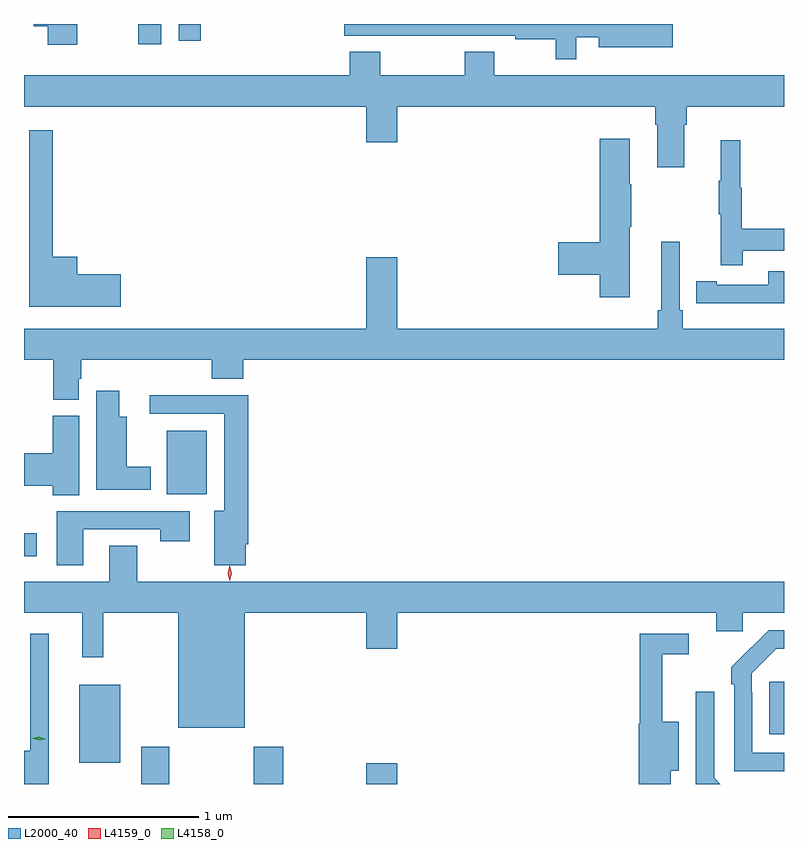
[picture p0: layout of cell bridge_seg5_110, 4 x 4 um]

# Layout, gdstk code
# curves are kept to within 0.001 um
import gdstk
lib = gdstk.Library(unit=1e-6, precision=1e-09)
def R(c, l, rs):  # rectangles x0, y0, x1, y1
    for r in rs: c.add(gdstk.rectangle(r[:2], r[2:], *l))
def P(c, l, *ps):  # polygons
    for p in ps: c.add(gdstk.Polygon(p, *l))
L2000_40 = (2000, 40)
L4158_0 = (4158, 0)
L4159_0 = (4159, 0)

bridge_seg5_110 = lib.new_cell('bridge_seg5_110')
R(bridge_seg5_110, L2000_40, [(403.583,903.811,403.731,904.006), (404.176,903.811,404.331,904.006), (404.768,903.811,404.932,903.919), (403.259,903.923,403.474,904.333), (406.889,904.073,406.967,904.348), (402.967,905.009,403.033,905.131), (403.718,905.336,403.93,905.671), (403.568,907.704,403.69,907.811), (403.782,907.722,403.898,907.811)])
P(bridge_seg5_110, L2000_40, [(405.873,907.742),(405.992,907.742),(405.992,907.688),(406.381,907.688),(406.381,907.81),(406.12,907.81),(406.12,907.811),(404.653,907.811),(404.653,907.749),(404.903,907.749),(404.903,907.748),(405.135,907.748),(405.135,907.749),(405.552,907.749),(405.552,907.73),(405.765,907.73),(405.765,907.625),(405.873,907.625)],
  [(403.246,907.811),(403.019,907.811),(403.019,907.799),(403.091,907.799),(403.091,907.701),(403.246,907.701)],
  [(406.441,907.28),(406.454,907.28),(406.454,907.376),(406.967,907.376),(406.967,907.54),(405.441,907.54),(405.441,907.664),(405.286,907.664),(405.286,907.54),(404.841,907.54),(404.841,907.664),(404.681,907.664),(404.681,907.54),(402.967,907.54),(402.967,907.376),(404.768,907.376),(404.768,907.188),(404.932,907.188),(404.932,907.376),(406.289,907.376),(406.289,907.28),(406.301,907.28),(406.301,907.056),(406.441,907.056)],
  [(403.477,906.494),(403.246,906.494),(403.246,906.586),(403.117,906.586),(403.117,907.252),(402.995,907.252),(402.995,906.323),(403.477,906.323)],
  [(406.156,906.745),(406.164,906.745),(406.164,906.968),(406.156,906.968),(406.156,907.207),(405.998,907.207),(405.998,906.662),(405.78,906.662),(405.78,906.491),(405.998,906.491),(405.998,906.372),(406.156,906.372)],
  [(406.751,906.618),(406.967,906.618),(406.967,906.734),(406.744,906.734),(406.744,906.948),(406.736,906.948),(406.736,907.198),(406.634,907.198),(406.634,906.985),(406.623,906.985),(406.623,906.811),(406.634,906.811),(406.634,906.54),(406.751,906.54)],
  [(403.255,905.943),(403.268,905.943),(403.268,906.044),(403.955,906.044),(403.955,905.945),(404.12,905.945),(404.12,906.044),(406.967,906.044),(406.967,906.208),(406.433,906.208),(406.433,906.304),(406.419,906.304),(406.419,906.664),(406.322,906.664),(406.322,906.304),(406.303,906.304),(406.303,906.208),(404.932,906.208),(404.932,906.583),(404.768,906.583),(404.768,906.208),(402.967,906.208),(402.967,906.044),(403.12,906.044),(403.12,905.833),(403.255,905.833)],
  [(406.967,906.51),(406.884,906.51),(406.884,906.438),(406.612,906.438),(406.612,906.458),(406.504,906.458),(406.504,906.342),(406.612,906.342),(406.612,906.341),(406.967,906.341)],
  [(403.633,905.482),(403.507,905.482),(403.507,905.743),(403.468,905.743),(403.468,905.881),(403.346,905.881),(403.346,905.36),(403.633,905.36)],
  [(404.134,905.074),(404.147,905.074),(404.147,905.858),(403.629,905.858),(403.629,905.76),(404.021,905.76),(404.021,905.248),(403.967,905.248),(403.967,904.962),(404.134,904.962)],
  [(403.258,905.748),(403.117,905.748),(403.117,905.552),(402.967,905.552),(402.967,905.381),(403.117,905.381),(403.117,905.332),(403.258,905.332)],
  [(403.279,905.151),(403.684,905.151),(403.684,905.088),(403.84,905.088),(403.84,905.247),(403.139,905.247),(403.139,904.962),(403.279,904.962)],
  [(404.128,904.712),(404.768,904.712),(404.768,904.524),(404.932,904.524),(404.932,904.712),(406.61,904.712),(406.61,904.614),(406.749,904.614),(406.749,904.712),(406.967,904.712),(406.967,904.876),(403.563,904.876),(403.563,905.066),(403.415,905.066),(403.415,904.876),(402.967,904.876),(402.967,904.712),(403.274,904.712),(403.274,904.479),(403.384,904.479),(403.384,904.712),(403.778,904.712),(403.778,904.106),(404.128,904.106)],
  [(406.967,903.975),(406.8,903.975),(406.8,904.295),(406.797,904.295),(406.797,904.395),(406.926,904.524),(406.967,904.524),(406.967,904.62),(406.886,904.62),(406.689,904.425),(406.689,904.337),(406.704,904.337),(406.704,903.879),(406.967,903.879)],
  [(403.096,904.603),(402.999,904.603),(402.999,903.985),(402.967,903.985),(402.967,903.811),(403.096,903.811)],
  [(406.372,903.881),(406.414,903.881),(406.414,904.138),(406.325,904.138),(406.325,904.494),(406.465,904.494),(406.465,904.602),(406.207,904.602),(406.207,904.128),(406.202,904.128),(406.202,903.811),(406.372,903.811)],
  [(406.599,903.843),(406.599,904.297),(406.503,904.297),(406.503,903.811),(406.631,903.811)])
P(bridge_seg5_110, L4158_0, [(403.044,904.04),(403.009,904.051),(403.009,904.052),(403.009,904.052),(403.045,904.06),(403.08,904.048),(403.08,904.047),(403.08,904.047)])
P(bridge_seg5_110, L4159_0, [(404.049,904.88),(404.04,904.921),(404.05,904.961),(404.05,904.961),(404.05,904.961),(404.06,904.92),(404.05,904.88),(404.05,904.88)])

lib.write_gds('bridge_seg5_110.gds')
